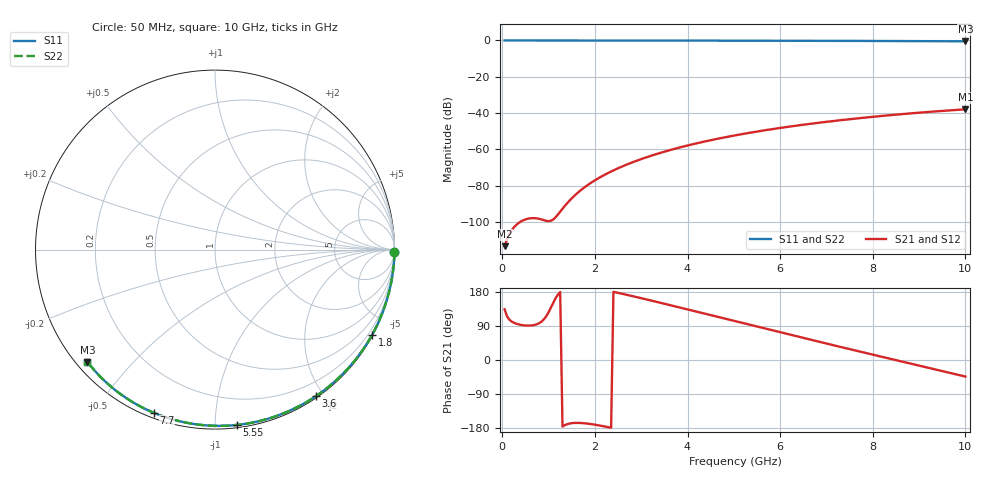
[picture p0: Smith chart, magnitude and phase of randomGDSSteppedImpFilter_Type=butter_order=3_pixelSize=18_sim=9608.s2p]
! freq	dB(S11)	phase(S11)	dB(S12)	phase(S12)
!  dB(S21)	phase(S21)	dB(S22)	phase(S22)
!S-par simulation data
#  GHz  S  DB  R 50
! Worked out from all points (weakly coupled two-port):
!   200 points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, 50 MHz to 10 GHz, reference 50 ohm
!   highest |S21| = -37.97 dB at 10 GHz (marker M1); lowest = -113.4 dB at 50 MHz (marker M2)
!   lowest |S11| = -0.5 dB at 10 GHz (marker M3), VSWR 36.60, Z = 1.56 - j18.9 ohm
!   |S11| at or under -10 dB: nowhere
!   |S22| runs from -0.5 to 0.0 dB; largest |S21 - S12| = 0
!   S11 on the Smith chart (normalised r, x): 50 MHz: open; 1.8 GHz: 0.03, -3.95; 3.6 GHz: 0.02, -1.90; 5.55 GHz: 0.02, -1.13; 7.7 GHz: 0.02, -0.69; 10 GHz: 0.03, -0.38
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0.05  -0.00 -0.8  -113.40 133.9  -113.40 133.9  -0.00 -0.8
0.45  -0.01 -7.2  -99.16 91.7  -99.16 91.7  -0.01 -7.2
0.9  -0.02 -14.4  -99.07 107.5  -99.07 107.5  -0.02 -14.4
1.75  -0.04 -27.7  -81.45 -166.7  -81.45 -166.7  -0.04 -27.7
1.8  -0.04 -28.4  -80.50 -167.3  -80.50 -167.3  -0.04 -28.4
1.85  -0.04 -29.2  -79.59 -168.0  -79.59 -168.0  -0.04 -29.2
2.05  -0.04 -32.3  -76.33 -171.7  -76.33 -171.7  -0.04 -32.3
2.25  -0.05 -35.4  -73.50 -176.4  -73.50 -176.4  -0.05 -35.4
2.55  -0.05 -39.9  -69.88 175.9  -69.88 175.9  -0.05 -39.9
2.95  -0.06 -45.9  -65.84 164.6  -65.84 164.6  -0.06 -45.9
3.4  -0.07 -52.6  -62.06 151.4  -62.06 151.4  -0.07 -52.6
3.6  -0.07 -55.5  -60.58 145.5  -60.58 145.5  -0.07 -55.5
3.9  -0.08 -59.9  -58.54 136.5  -58.54 136.5  -0.08 -59.9
4.3  -0.09 -65.6  -56.10 124.4  -56.10 124.4  -0.09 -65.6
5.05  -0.12 -76.1  -52.21 101.7  -52.21 101.7  -0.12 -76.1
5.55  -0.14 -82.8  -50.00 86.6  -50.00 86.6  -0.14 -82.8
6.1  -0.16 -90.2  -47.86 70.1  -47.86 70.1  -0.16 -90.2
6.7  -0.19 -98.0  -45.79 52.2  -45.79 52.2  -0.19 -98.0
7.7  -0.25 -110.6  -42.87 22.9  -42.87 22.9  -0.25 -110.6
8.35  -0.30 -118.6  -41.25 4.0  -41.25 4.0  -0.30 -118.6
9.2  -0.38 -129.0  -39.41 -20.6  -39.41 -20.6  -0.38 -129.0
10  -0.47 -138.6  -37.97 -43.7  -37.97 -43.7  -0.47 -138.6
